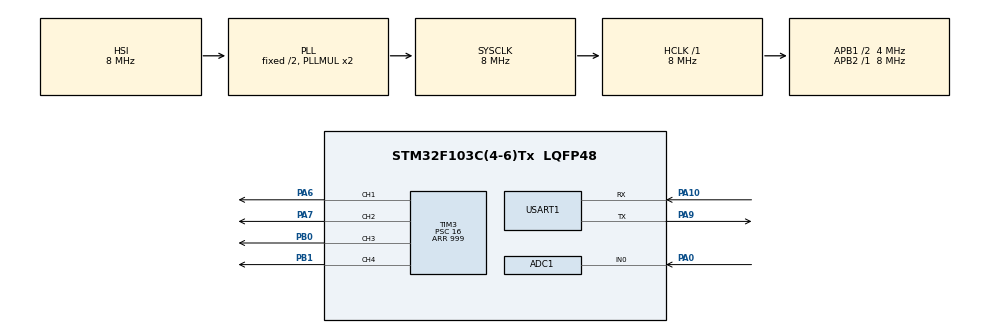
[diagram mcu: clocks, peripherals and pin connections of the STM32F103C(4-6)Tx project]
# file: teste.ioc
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ADC1.Channel-0\#ChannelRegularConversion=ADC_CHANNEL_0
ADC1.NbrOfConversionFlag=1
ADC1.Rank-0\#ChannelRegularConversion=1
ADC1.SamplingTime-0\#ChannelRegularConversion=ADC_SAMPLETIME_1CYCLE_5
ADC1.master=1
Mcu.Family=STM32F1
Mcu.Name=STM32F103C(4-6)Tx
Mcu.Package=LQFP48
NVIC.PriorityGroup=NVIC_PRIORITYGROUP_4
NVIC.TIM3_IRQn=true\:0\:0\:false\:false\:true\:true\:true
PA0-WKUP.Signal=ADCx_IN0
PA10.Mode=Asynchronous
PA10.Signal=USART1_RX
PA13.Mode=Serial_Wire
PA13.Signal=SYS_JTMS-SWDIO
PA14.Mode=Serial_Wire
PA14.Signal=SYS_JTCK-SWCLK
PA6.Signal=S_TIM3_CH1
PA7.Signal=S_TIM3_CH2
PA9.Mode=Asynchronous
PA9.Signal=USART1_TX
PB0.Signal=S_TIM3_CH3
PB1.Signal=S_TIM3_CH4
PD0-OSC_IN.Mode=HSE-External-Oscillator
PD0-OSC_IN.Signal=RCC_OSC_IN
PD1-OSC_OUT.Mode=HSE-External-Oscillator
PD1-OSC_OUT.Signal=RCC_OSC_OUT
ProjectManager.HeapSize=0x200
ProjectManager.StackSize=0x400
ProjectManager.TargetToolchain=STM32CubeIDE
RCC.AHBFreq_Value=8000000
RCC.APB1CLKDivider=RCC_HCLK_DIV2
RCC.APB1Freq_Value=4000000
RCC.APB1TimFreq_Value=8000000
RCC.APB2Freq_Value=8000000
RCC.APB2TimFreq_Value=8000000
RCC.HCLKFreq_Value=8000000
RCC.SYSCLKFreq_VALUE=8000000
RCC.SYSCLKSource=RCC_SYSCLKSOURCE_PLLCLK
RCC.USBFreq_Value=8000000
SH.ADCx_IN0.0=ADC1_IN0,IN0
SH.S_TIM3_CH1.0=TIM3_CH1,PWM Generation1 CH1
SH.S_TIM3_CH2.0=TIM3_CH2,PWM Generation2 CH2
SH.S_TIM3_CH3.0=TIM3_CH3,PWM Generation3 CH3
SH.S_TIM3_CH4.0=TIM3_CH4,PWM Generation4 CH4
TIM3.Channel-PWM\ Generation1\ CH1=TIM_CHANNEL_1
TIM3.Channel-PWM\ Generation2\ CH2=TIM_CHANNEL_2
TIM3.Channel-PWM\ Generation3\ CH3=TIM_CHANNEL_3
TIM3.Channel-PWM\ Generation4\ CH4=TIM_CHANNEL_4
TIM3.Period=999
TIM3.Prescaler=16
USART1.VirtualMode=VM_ASYNC
VP_TIM3_VS_ClockSourceINT.Mode=Internal
board=custom

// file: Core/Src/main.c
/* USER CODE BEGIN Header */
/**
  ******************************************************************************
  * @file           : main.c
  * @brief          : Main program body
  ******************************************************************************
  * @attention
  *
  * <h2><center>&copy; Copyright (c) 2021 STMicroelectronics.
  * All rights reserved.</center></h2>
  *
  * This software component is licensed by ST under BSD 3-Clause license,
  * the "License"; You may not use this file except in compliance with the
  * License. You may obtain a copy of the License at:
  *                        opensource.org/licenses/BSD-3-Clause
  *
  ******************************************************************************
  */
/* USER CODE END Header */
#include "main.h"
#include "string.h"

ADC_HandleTypeDef hadc1;

TIM_HandleTypeDef htim3;

UART_HandleTypeDef huart1;

void SystemClock_Config(void);
static void MX_GPIO_Init(void);
static void MX_TIM3_Init(void);
static void MX_ADC1_Init(void);
static void MX_USART1_UART_Init(void);

int main(void)
{

  /* MCU Configuration--------------------------------------------------------*/

  /* Reset of all peripherals, Initializes the Flash interface and the Systick. */
  HAL_Init();

  /* Configure the system clock */
  SystemClock_Config();

  /* Initialize all configured peripherals */
  MX_GPIO_Init();
  MX_TIM3_Init();
  MX_ADC1_Init();
  MX_USART1_UART_Init();
  /* USER CODE BEGIN 2 */
  HAL_TIM_PWM_Start(&htim3, TIM_CHANNEL_1);
  HAL_TIM_PWM_Start(&htim3, TIM_CHANNEL_2);
  HAL_TIM_PWM_Start(&htim3, TIM_CHANNEL_3);
  HAL_TIM_PWM_Start(&htim3, TIM_CHANNEL_4);

  /* USER CODE END 2 */

  /* Infinite loop */
  /* USER CODE BEGIN WHILE */

  char msg[10];

  uint16_t map(uint16_t x, uint16_t in_min, uint16_t in_max, uint16_t out_min, uint16_t out_max){
	  return (x - in_min)*(out_max-out_min)/(in_max-in_min)+out_min;

  }

  uint16_t adcval;
  uint16_t numReadings = 3;
  uint16_t readings[numReadings];
  uint16_t readIndex = 0;
  uint16_t total = 0;
  uint16_t value = 0;
  uint32_t pwmval = 0;
  int average = 0, error = 0;
  float kp = 1, kd = 3,lasterror = 0;
  for (uint16_t thisReading = 0; thisReading < numReadings; thisReading++) {
  readings[thisReading] = 0;
}
  while (1)
  {
    /* USER CODE END WHILE */

    /* USER CODE BEGIN 3 */
	  total = total - readings[readIndex];
	  HAL_ADC_Start(&hadc1);
	  HAL_ADC_PollForConversion(&hadc1, HAL_MAX_DELAY);
	  adcval = HAL_ADC_GetValue(&hadc1);
	  readings[readIndex] = adcval;
	  total = total + readings[readIndex];
	  readIndex = readIndex + 1;
	  if (readIndex >= numReadings) {
	    readIndex = 0;
	  }
	  average = total / numReadings;
	  error = average - 1340;
	  value = error*kp + (error-lasterror)*kd;
	  pwmval = value*(2703/1000);
	  sprintf(msg,"Valor do PWM: %d \r\n", pwmval);

	  HAL_UART_Transmit(&huart1,(uint8_t*)msg, strlen(msg), HAL_MAX_DELAY);
	  if(pwmval < 999){
	  TIM3->CCR2 = pwmval;
	  }

	  lasterror = error;
  }
  /* USER CODE END 3 */
}

void SystemClock_Config(void)
{
  RCC_OscInitTypeDef RCC_OscInitStruct = {0};
  RCC_ClkInitTypeDef RCC_ClkInitStruct = {0};
  RCC_PeriphCLKInitTypeDef PeriphClkInit = {0};

  /** Initializes the RCC Oscillators according to the specified parameters
  * in the RCC_OscInitTypeDef structure.
  */
  RCC_OscInitStruct.OscillatorType = RCC_OSCILLATORTYPE_HSI;
  RCC_OscInitStruct.HSIState = RCC_HSI_ON;
  RCC_OscInitStruct.HSICalibrationValue = RCC_HSICALIBRATION_DEFAULT;
  RCC_OscInitStruct.PLL.PLLState = RCC_PLL_ON;
  RCC_OscInitStruct.PLL.PLLSource = RCC_PLLSOURCE_HSI_DIV2;
  RCC_OscInitStruct.PLL.PLLMUL = RCC_PLL_MUL2;
  if (HAL_RCC_OscConfig(&RCC_OscInitStruct) != HAL_OK)
  {
    Error_Handler();
  }
  /** Initializes the CPU, AHB and APB buses clocks
  */
  RCC_ClkInitStruct.ClockType = RCC_CLOCKTYPE_HCLK|RCC_CLOCKTYPE_SYSCLK
                              |RCC_CLOCKTYPE_PCLK1|RCC_CLOCKTYPE_PCLK2;
  RCC_ClkInitStruct.SYSCLKSource = RCC_SYSCLKSOURCE_PLLCLK;
  RCC_ClkInitStruct.AHBCLKDivider = RCC_SYSCLK_DIV1;
  RCC_ClkInitStruct.APB1CLKDivider = RCC_HCLK_DIV2;
  RCC_ClkInitStruct.APB2CLKDivider = RCC_HCLK_DIV1;

  if (HAL_RCC_ClockConfig(&RCC_ClkInitStruct, FLASH_LATENCY_0) != HAL_OK)
  {
    Error_Handler();
  }
  PeriphClkInit.PeriphClockSelection = RCC_PERIPHCLK_ADC;
  PeriphClkInit.AdcClockSelection = RCC_ADCPCLK2_DIV2;
  if (HAL_RCCEx_PeriphCLKConfig(&PeriphClkInit) != HAL_OK)
  {
    Error_Handler();
  }
}

static void MX_ADC1_Init(void)
{

  ADC_ChannelConfTypeDef sConfig = {0};

  /** Common config
  */
  hadc1.Instance = ADC1;
  hadc1.Init.ScanConvMode = ADC_SCAN_DISABLE;
  hadc1.Init.ContinuousConvMode = DISABLE;
  hadc1.Init.DiscontinuousConvMode = DISABLE;
  hadc1.Init.ExternalTrigConv = ADC_SOFTWARE_START;
  hadc1.Init.DataAlign = ADC_DATAALIGN_RIGHT;
  hadc1.Init.NbrOfConversion = 1;
  if (HAL_ADC_Init(&hadc1) != HAL_OK)
  {
    Error_Handler();
  }
  /** Configure Regular Channel
  */
  sConfig.Channel = ADC_CHANNEL_0;
  sConfig.Rank = ADC_REGULAR_RANK_1;
  sConfig.SamplingTime = ADC_SAMPLETIME_1CYCLE_5;
  if (HAL_ADC_ConfigChannel(&hadc1, &sConfig) != HAL_OK)
  {
    Error_Handler();
  }

}

static void MX_TIM3_Init(void)
{

  TIM_ClockConfigTypeDef sClockSourceConfig = {0};
  TIM_MasterConfigTypeDef sMasterConfig = {0};
  TIM_OC_InitTypeDef sConfigOC = {0};

  htim3.Instance = TIM3;
  htim3.Init.Prescaler = 16;
  htim3.Init.CounterMode = TIM_COUNTERMODE_UP;
  htim3.Init.Period = 999;
  htim3.Init.ClockDivision = TIM_CLOCKDIVISION_DIV1;
  htim3.Init.AutoReloadPreload = TIM_AUTORELOAD_PRELOAD_DISABLE;
  if (HAL_TIM_Base_Init(&htim3) != HAL_OK)
  {
    Error_Handler();
  }
  sClockSourceConfig.ClockSource = TIM_CLOCKSOURCE_INTERNAL;
  if (HAL_TIM_ConfigClockSource(&htim3, &sClockSourceConfig) != HAL_OK)
  {
    Error_Handler();
  }
  if (HAL_TIM_PWM_Init(&htim3) != HAL_OK)
  {
    Error_Handler();
  }
  sMasterConfig.MasterOutputTrigger = TIM_TRGO_RESET;
  sMasterConfig.MasterSlaveMode = TIM_MASTERSLAVEMODE_DISABLE;
  if (HAL_TIMEx_MasterConfigSynchronization(&htim3, &sMasterConfig) != HAL_OK)
  {
    Error_Handler();
  }
  sConfigOC.OCMode = TIM_OCMODE_PWM1;
  sConfigOC.Pulse = 0;
  sConfigOC.OCPolarity = TIM_OCPOLARITY_HIGH;
  sConfigOC.OCFastMode = TIM_OCFAST_DISABLE;
  if (HAL_TIM_PWM_ConfigChannel(&htim3, &sConfigOC, TIM_CHANNEL_1) != HAL_OK)
  {
    Error_Handler();
  }
  if (HAL_TIM_PWM_ConfigChannel(&htim3, &sConfigOC, TIM_CHANNEL_2) != HAL_OK)
  {
    Error_Handler();
  }
  if (HAL_TIM_PWM_ConfigChannel(&htim3, &sConfigOC, TIM_CHANNEL_3) != HAL_OK)
  {
    Error_Handler();
  }
  if (HAL_TIM_PWM_ConfigChannel(&htim3, &sConfigOC, TIM_CHANNEL_4) != HAL_OK)
  {
    Error_Handler();
  }
  HAL_TIM_MspPostInit(&htim3);

}

static void MX_USART1_UART_Init(void)
{

  huart1.Instance = USART1;
  huart1.Init.BaudRate = 115200;
  huart1.Init.WordLength = UART_WORDLENGTH_8B;
  huart1.Init.StopBits = UART_STOPBITS_1;
  huart1.Init.Parity = UART_PARITY_NONE;
  huart1.Init.Mode = UART_MODE_TX_RX;
  huart1.Init.HwFlowCtl = UART_HWCONTROL_NONE;
  huart1.Init.OverSampling = UART_OVERSAMPLING_16;
  if (HAL_UART_Init(&huart1) != HAL_OK)
  {
    Error_Handler();
  }

}

static void MX_GPIO_Init(void)
{

  /* GPIO Ports Clock Enable */
  __HAL_RCC_GPIOD_CLK_ENABLE();
  __HAL_RCC_GPIOA_CLK_ENABLE();
  __HAL_RCC_GPIOB_CLK_ENABLE();

}

void Error_Handler(void)
{
  __disable_irq();
  while (1)
  {
  }
}

/************************ (C) COPYRIGHT STMicroelectronics *****END OF FILE****/
